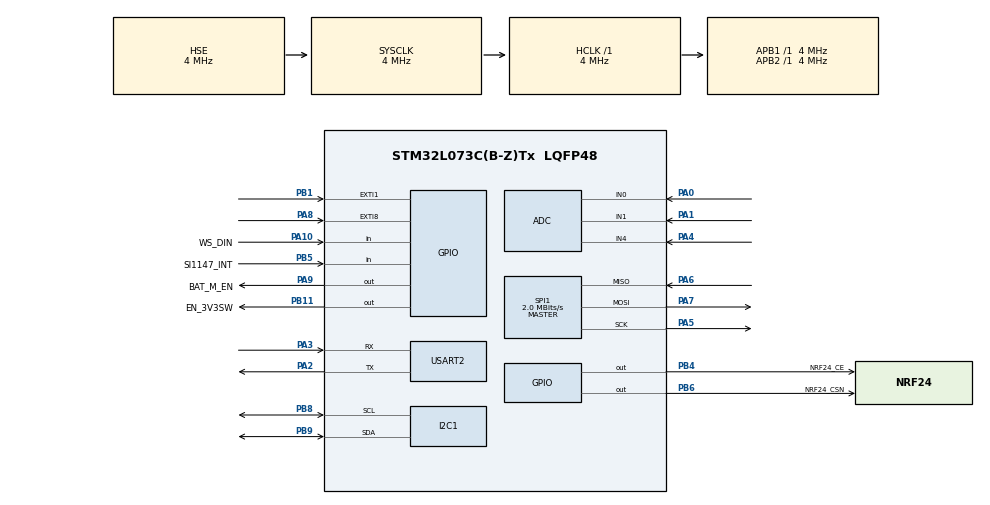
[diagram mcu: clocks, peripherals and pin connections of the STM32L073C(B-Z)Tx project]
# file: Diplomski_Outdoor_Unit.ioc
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ADC.ClockPrescaler=ADC_CLOCK_ASYNC_DIV64
ADC.OversamplingMode=ENABLE
ADC.Ratio=ADC_OVERSAMPLING_RATIO_16
ADC.RightBitShift=ADC_RIGHTBITSHIFT_4
ADC.SamplingTime=ADC_SAMPLETIME_12CYCLES_5
I2C1.Timing=0x00000E14
Mcu.Family=STM32L0
Mcu.Name=STM32L073C(B-Z)Tx
Mcu.Package=LQFP48
NVIC.EXTI0_1_IRQn=true\:1\:0\:true\:false\:true\:true\:true\:true
NVIC.EXTI4_15_IRQn=true\:1\:0\:true\:false\:true\:true\:true\:true
NVIC.RTC_IRQn=true\:0\:0\:false\:false\:true\:true\:true\:true
PA0.Mode=IN0
PA0.Signal=ADC_IN0
PA1.Mode=IN1
PA1.Signal=ADC_IN1
PA10.GPIO_Label=WS_DIN
PA10.GPIO_PuPd=GPIO_NOPULL
PA10.Signal=GPIO_Input
PA13.Mode=Serial_Wire
PA13.Signal=SYS_SWDIO
PA14.Mode=Serial_Wire
PA14.Signal=SYS_SWCLK
PA2.Mode=Asynchronous
PA2.Signal=USART2_TX
PA3.Mode=Asynchronous
PA3.Signal=USART2_RX
PA4.Mode=IN4
PA4.Signal=ADC_IN4
PA5.Mode=Full_Duplex_Master
PA5.Signal=SPI1_SCK
PA6.Mode=Full_Duplex_Master
PA6.Signal=SPI1_MISO
PA7.Mode=Full_Duplex_Master
PA7.Signal=SPI1_MOSI
PA8.GPIO_PuPd=GPIO_PULLUP
PA8.Signal=GPXTI8
PA9.GPIO_Label=BAT_M_EN
PA9.Signal=GPIO_Output
PB1.GPIO_PuPd=GPIO_PULLUP
PB1.Signal=GPXTI1
PB11.GPIO_Label=EN_3V3SW
PB11.Signal=GPIO_Output
PB4.GPIO_Label=NRF24_CE
PB4.GPIO_Speed=GPIO_SPEED_FREQ_HIGH
PB4.Signal=GPIO_Output
PB5.GPIO_Label=SI1147_INT
PB5.GPIO_PuPd=GPIO_PULLUP
PB5.Signal=GPIO_Input
PB6.GPIO_Label=NRF24_CSN
PB6.GPIO_Speed=GPIO_SPEED_FREQ_HIGH
PB6.Signal=GPIO_Output
PB8.Mode=I2C
PB8.Signal=I2C1_SCL
PB9.Mode=I2C
PB9.Signal=I2C1_SDA
PC14-OSC32_IN.Mode=LSE-External-Oscillator
PC14-OSC32_IN.Signal=RCC_OSC32_IN
PC15-OSC32_OUT.Mode=LSE-External-Oscillator
PC15-OSC32_OUT.Signal=RCC_OSC32_OUT
PH0-OSC_IN.Mode=HSE-External-Oscillator
PH0-OSC_IN.Signal=RCC_OSC_IN
PH1-OSC_OUT.Mode=HSE-External-Oscillator
PH1-OSC_OUT.Signal=RCC_OSC_OUT
ProjectManager.HeapSize=0x200
ProjectManager.StackSize=0x400
ProjectManager.TargetToolchain=TrueSTUDIO
RCC.AHBFreq_Value=4000000
RCC.APB1Freq_Value=4000000
RCC.APB1TimFreq_Value=4000000
RCC.APB2Freq_Value=4000000
RCC.APB2TimFreq_Value=4000000
RCC.HCLKFreq_Value=4000000
RCC.HSE_VALUE=4000000
RCC.HSI16_VALUE=16000000
RCC.HSI48_VALUE=48000000
RCC.HSI_VALUE=16000000
RCC.LSE_Drive_Capability=RCC_LSEDRIVE_HIGH
RCC.MSI_VALUE=2097000
RCC.RTCClockSelection=RCC_RTCCLKSOURCE_LSE
RCC.RTCClockSelectionVirtual=RCC_RTCCLKSOURCE_LSE
RCC.SYSCLKFreq_VALUE=4000000
RCC.SYSCLKSource=RCC_SYSCLKSOURCE_HSE
RCC.VCOOutputFreq_Value=48000000
RTC.Alarm-Alarm\ A=RTC_ALARM_A
RTC.Format=RTC_FORMAT_BIN
SPI1.CalculateBaudRate=2.0 MBits/s
SPI1.Direction=SPI_DIRECTION_2LINES
SPI1.Mode=SPI_MODE_MASTER
SPI1.VirtualType=VM_MASTER
TIM6.Period=65535
TIM6.Prescaler=60
USART2.VirtualMode-Asynchronous=VM_ASYNC
VP_RTC_VS_RTC_Activate.Mode=RTC_Enabled
VP_RTC_VS_RTC_Alarm_A_Intern.Mode=Alarm A
VP_RTC_VS_RTC_Calendar.Mode=RTC_Calendar
VP_TIM6_VS_ClockSourceINT.Mode=Enable_Timer
board=custom

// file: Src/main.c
/* USER CODE BEGIN Header */
/**
 ******************************************************************************
 * @file           : main.c
 * @brief          : Main program body
 ******************************************************************************
 * @attention
 *
 * <h2><center>&copy; Copyright (c) 2021 STMicroelectronics.
 * All rights reserved.</center></h2>
 *
 * This software component is licensed by ST under BSD 3-Clause license,
 * the "License"; You may not use this file except in compliance with the
 * License. You may obtain a copy of the License at:
 *                        opensource.org/licenses/BSD-3-Clause
 *
 ******************************************************************************
 */
/* USER CODE END Header */

#include "main.h"

/* USER CODE BEGIN Includes */
#include <stdlib.h>
#include <stdio.h>
#include <string.h>
#include <math.h>

#include "myStructs.h"
#include "glassLCD.h"
#include "SHT21.h"
#include "rtc.h"
#include "sleep.h"
#include "BMP180.h"
#include "Si1147.h"
#include "RF24.h"
#include "communication.h"
/* USER CODE END Includes */

/* USER CODE BEGIN PD */
#define NO_DEEP_SLEEP   0
#define DEEP_SLEEP      1
#define BMP180_ERROR    1
#define SHT21_ERROR     2
#define SI1147_ERROR    3
#define NRF24_ERROR     4

#define ALL_MEASUREMENTS        0b111111111
#define TEMP_MEASUREMENT        0b000000001
#define HUMIDITY_MEASUREMENT    0b000000010
#define PRESSURE_MEASUREMENT    0b000000100
#define UV_MEASUREMENT          0b000001000
#define LIGHT_MEASUREMENT       0b000010000
#define SOLAR_MEASUREMENT       0b000100000
#define WINDSPEED_MEASUREMENT   0b001000000
#define WINDDIR_MEASUREMENT     0b010000000
#define BATTERY_MEASUREMENT     0b100000000
/* USER CODE END PD */

ADC_HandleTypeDef hadc;

I2C_HandleTypeDef hi2c1;

RTC_HandleTypeDef hrtc;

SPI_HandleTypeDef hspi1;

TIM_HandleTypeDef htim6;

UART_HandleTypeDef huart2;

/* USER CODE BEGIN PV */
struct syncStructHandle syncStruct = {SYNC_HEADER};
struct measruementHandle weatherData;
struct measruementHandle currentWeatherData;
const char lcdTest[] = {"88888888"};
const char errStr[] = {"ERR-%03d"};
const char* windStr[] = {"N", "NNE", "NE", "ENE", "E", "ESE", "SE", "SSE", "S", "SSW", "SW", "WSW", "W", "WNW", "NW", "NNW"};
volatile uint32_t interruptButton = 0;
volatile uint8_t alarmInterruptFlag = 0;
const uint16_t measurementTable[] = { TEMP_MEASUREMENT | HUMIDITY_MEASUREMENT, PRESSURE_MEASUREMENT, UV_MEASUREMENT | LIGHT_MEASUREMENT, SOLAR_MEASUREMENT, WINDSPEED_MEASUREMENT, WINDDIR_MEASUREMENT, BATTERY_MEASUREMENT};
uint32_t sendInterval;
int16_t windDirCalibration = 0;
char lcdTemp[20];
uint8_t firstTimeSync = 0;
/* USER CODE END PV */

void SystemClock_Config(void);
static void MX_GPIO_Init(void);
static void MX_I2C1_Init(void);
static void MX_RTC_Init(void);
static void MX_SPI1_Init(void);
static void MX_USART2_UART_Init(void);
static void MX_ADC_Init(void);
static void MX_TIM6_Init(void);
/* USER CODE BEGIN PFP */
void writeError(uint8_t _e, uint8_t _forceSleep);
void readWeatherData(struct measruementHandle *_w, uint16_t _flags);
void getSolarData(double *_energyJ, double *_energy);
uint32_t getADC(uint32_t _ch);
float getWindSpeed();
int16_t getWindDir(uint32_t _pin, int16_t _offset);
float getWindSpeed();
float getBatteryVoltage();
/* USER CODE END PFP */

int main(void)
{

  /* MCU Configuration--------------------------------------------------------*/

  /* Reset of all peripherals, Initializes the Flash interface and the Systick. */
  HAL_Init();

  /* Configure the system clock */
  SystemClock_Config();

  /* Initialize all configured peripherals */
  MX_GPIO_Init();
  MX_I2C1_Init();
  MX_RTC_Init();
  MX_SPI1_Init();
  MX_USART2_UART_Init();
  MX_ADC_Init();
  MX_TIM6_Init();
  /* USER CODE BEGIN 2 */
  // Init LCD Driver
  glassLCD_Begin();

  // Test LCD (and wait for debugger to connect)
  glassLCD_WriteData((char*) lcdTest);
  glassLCD_SetDot(0b11111111);
  glassLCD_WriteArrow(0b11111111);
  glassLCD_Update();
  HAL_Delay(2000);

  // Dummy ADC readings to calibrate ADC and remove ranks
  getADC(ADC_CHANNEL_0);
  getADC(ADC_CHANNEL_1);
  getADC(ADC_CHANNEL_4);

  // Init Pressure & Temp sensor
  if (!BMP180_Init()) writeError(BMP180_ERROR, DEEP_SLEEP);

  // Init Humidity & Temp sensor
  if (!SHT21_Init()) writeError(SHT21_ERROR, DEEP_SLEEP);

  // Init Si1147 Sensor for ALS and UV
  if (!Si1147_Init()) writeError(SI1147_ERROR, DEEP_SLEEP);

  RF24_init(NRF24_CE_GPIO_Port, NRF24_CE_Pin, NRF24_CSN_GPIO_Port, NRF24_CSN_Pin);
  if (!RF24_begin()) writeError(NRF24_ERROR, DEEP_SLEEP);

  // Enable UV meas.
  Si1147_SetUV();

  // Set time on RTC
  RTC_SetTime(1609459200);

  // Setup RF communication (speed, RF Channel, RF Power, rtc)
  communication_Setup();

  // Wait for sync signal from indoor station
  uint8_t syncTimeout = 180;
  uint8_t rxBuffer[32] = {0};
  uint8_t syncSuccess = 0;
  while (!syncSuccess && syncTimeout > 0)
  {
    if (communication_Transmit(&syncStruct, sizeof(syncStruct), rxBuffer))
    {
      if (rxBuffer[0] == SYNC_HEADER)
      {
        memcpy(&syncStruct, rxBuffer, sizeof(syncStruct));
        syncSuccess = 1;
      }
    }
    char lcdTemp[9];
    sprintf(lcdTemp, "SYNC %3d", syncTimeout--);
    glassLCD_WriteData(lcdTemp);
    glassLCD_Update();
    HAL_Delay(1000);
  }
  // Flush all unsent data and power down the module
  RF24_flush_rx();
  RF24_flush_tx();
  RF24_powerDown();

  if (syncSuccess)
  {
    struct tm hTime;

    RTC_SetTime(syncStruct.myEpoch);
    RTC_SetAlarmEpoch(syncStruct.sendEpoch, RTC_ALARMMASK_DATEWEEKDAY);
    sendInterval = syncStruct.sendEpoch - syncStruct.myEpoch;
    firstTimeSync = 1;

    glassLCD_WriteData("SYNC OK");
    glassLCD_Update();
    HAL_Delay(1000);

    hTime = RTC_EpochToHuman(syncStruct.myEpoch);
    sprintf(lcdTemp, " %2d%02d%02d", hTime.tm_hour, hTime.tm_min, hTime.tm_sec);
    glassLCD_WriteData(lcdTemp);
    glassLCD_SetDot(0b00101000);
    glassLCD_Update();
    HAL_Delay(1000);
  }
  else
  {
    sendInterval = 300;
    RTC_SetAlarmEpoch(RTC_GetTime() + sendInterval, RTC_ALARMMASK_DATEWEEKDAY);
    glassLCD_WriteData("NO SYNC");
    glassLCD_Update();
    HAL_Delay(1000);
  }

  // Get North direction for wind direction calibration
  for (int i = 0; i < 5; i++)
  {
    sprintf(lcdTemp, "D CAL %d", 5 - i);
    glassLCD_WriteData(lcdTemp);
    glassLCD_Update();
    windDirCalibration += getWindDir(ADC_CHANNEL_1, 0);
    HAL_Delay(1000);
  }
  windDirCalibration /= 5;
  readWeatherData(&currentWeatherData, ALL_MEASUREMENTS);

  /* USER CODE END 2 */

  /* Infinite loop */
  /* USER CODE BEGIN WHILE */
  uint8_t k = 0;
  while (1)
  {
    uint8_t lcdDot = 0;
    uint8_t lcdArrow = 0;
    if (k == 0)
    {
      int16_t t = round(currentWeatherData.tempSHT * 10);
      int16_t h = round(currentWeatherData.humidity * ((currentWeatherData.humidity >= 100) ? 1 : 10));
      lcdDot = (h >= 1000) ? 0b00100000 : 0b00100010;
      sprintf(lcdTemp, "%3d%01d %2d%01d", t / 10, abs(t % 10), abs(h / 10), abs(h % 10));
      lcdDot = (currentWeatherData.humidity >= 100) ? 0b00100000 : 0b00100010;
      lcdArrow = 0b10000000;
    }
    if (k == 1)
    {
      uint16_t p = round(currentWeatherData.pressure * 10);
      sprintf(lcdTemp, "%4d%1d", abs(p / 10), abs(p % 10));
      lcdDot = 0b00010000;
      lcdArrow = 0b01000000;
    }
    if (k == 2)
    {
      int16_t uv = (currentWeatherData.uv * 10);
      int16_t vis = currentWeatherData.light;
      sprintf(lcdTemp, "%2d%1d %4d", abs(uv / 10), abs(uv % 10), vis);
      lcdDot = 0b01000000;
      lcdArrow = 0b00100000;
    }
    if (k == 3)
    {
      int energyJ = round(currentWeatherData.solarJ * 10);
      sprintf(lcdTemp, "%2d%1d %4d", abs(energyJ / 10), abs(energyJ % 10), (int) (currentWeatherData.solarW));
      lcdDot = 0b01000000;
      lcdArrow = 0b00010000;
    }
    if (k == 4)
    {
      int wind = round(currentWeatherData.windSpeed * 10);
      sprintf(lcdTemp, "%3d%1d", abs(wind / 10), abs(wind % 10));
      lcdDot = 0b00100000;
      lcdArrow = 0b00001000;
    }
    if (k == 5)
    {
      sprintf(lcdTemp, "%3s %3d", windStr[(int) ((currentWeatherData.windDir / 22.5) + 0.5) % 16], currentWeatherData.windDir);
      lcdArrow = 0b00000100;
    }
    if (k == 6)
    {
      uint16_t batt = round((currentWeatherData.battery) * 100);
      struct tm t = RTC_EpochToHuman(RTC_GetTime());
      sprintf(lcdTemp, "%2d%02d %1d%02d", t.tm_hour, t.tm_min, batt / 100, abs(batt % 100));
      lcdArrow = 0b00000010;
      lcdDot = 0b01000100;
    }
    glassLCD_WriteData(lcdTemp);
    glassLCD_SetDot(lcdDot);
    glassLCD_WriteArrow(lcdArrow);
    glassLCD_Update();
    Sleep_LightSleep();

    if (alarmInterruptFlag == 1)
    {
      alarmInterruptFlag = 0;
      readWeatherData(&weatherData, ALL_MEASUREMENTS);
      currentWeatherData = weatherData;
      uint8_t dataSent = 0;

      if (firstTimeSync)
      {
        RF24_powerUp();
        communication_Setup();
        uint8_t rxBuffer[32] = {0};
        uint8_t sendTimeout = 25;
        struct data1StructHandle data1 = {DATA1_HEADER};
        struct data2StructHandle data2 = {DATA2_HEADER};
        void* dataStructList[2] = {&data1, &data2};
        size_t dataStructListSize[2] = {sizeof(data1), sizeof(data2)};
        data1.uv = weatherData.uv * 100;
        data1.windDir = weatherData.windDir;
        data1.tempSHT = weatherData.tempSHT;
        data1.tempSoil = weatherData.tempSoil;
        data1.humidity = weatherData.humidity;
        data1.pressure = weatherData.pressure;
        data1.light = weatherData.light;
        data1.windSpeed = weatherData.windSpeed;
        data2.rain = weatherData.rain;
        data2.battery = weatherData.battery;
        data2.epoch = weatherData.epoch;
        data2.solarJ = weatherData.solarJ;
        data2.solarW = weatherData.solarW;
        while (dataSent < 2 && sendTimeout > 0)
        {
          if (communication_Transmit(dataStructList[dataSent], dataStructListSize[dataSent], rxBuffer))
          {
            if (rxBuffer[0] == SYNC_HEADER)
            {
              dataSent++;
              memcpy(&syncStruct, rxBuffer, sizeof(syncStruct));
            }
          }
          char temp[10];
          sprintf(temp, "SEND %d", sendTimeout--);
          glassLCD_WriteData(temp);
          glassLCD_Update();
          HAL_Delay(1000);
        }
        RF24_flush_rx();
        RF24_flush_tx();
        RF24_powerDown();
      }
      if (dataSent == 0)
      {
        RTC_SetAlarmEpoch(RTC_GetTime() + sendInterval - 25,
            RTC_ALARMMASK_DATEWEEKDAY);
      }
      else
      {
        RTC_SetTime(syncStruct.myEpoch);
        RTC_SetAlarmEpoch(syncStruct.sendEpoch, RTC_ALARMMASK_DATEWEEKDAY);
        sendInterval = syncStruct.sendEpoch - syncStruct.myEpoch;
      }
    }

    if (interruptButton & GPIO_PIN_8)
    {
      interruptButton &= ~(GPIO_PIN_8);
      k++;
      k = k % 7;
    }

    if (interruptButton & GPIO_PIN_1)
    {
      interruptButton &= ~(GPIO_PIN_1);
      readWeatherData(&currentWeatherData, measurementTable[k]);
    }
    /* USER CODE END WHILE */

  }
}

void SystemClock_Config(void)
{
  RCC_OscInitTypeDef RCC_OscInitStruct = {0};
  RCC_ClkInitTypeDef RCC_ClkInitStruct = {0};
  RCC_PeriphCLKInitTypeDef PeriphClkInit = {0};

  /** Configure the main internal regulator output voltage
  */
  __HAL_PWR_VOLTAGESCALING_CONFIG(PWR_REGULATOR_VOLTAGE_SCALE1);
  /** Configure LSE Drive Capability
  */
  HAL_PWR_EnableBkUpAccess();
  __HAL_RCC_LSEDRIVE_CONFIG(RCC_LSEDRIVE_HIGH);
  /** Initializes the CPU, AHB and APB busses clocks
  */
  RCC_OscInitStruct.OscillatorType = RCC_OSCILLATORTYPE_HSI|RCC_OSCILLATORTYPE_HSE
                              |RCC_OSCILLATORTYPE_LSE;
  RCC_OscInitStruct.HSEState = RCC_HSE_ON;
  RCC_OscInitStruct.LSEState = RCC_LSE_ON;
  RCC_OscInitStruct.HSIState = RCC_HSI_ON;
  RCC_OscInitStruct.HSICalibrationValue = RCC_HSICALIBRATION_DEFAULT;
  RCC_OscInitStruct.PLL.PLLState = RCC_PLL_NONE;
  if (HAL_RCC_OscConfig(&RCC_OscInitStruct) != HAL_OK)
  {
    Error_Handler();
  }
  /** Initializes the CPU, AHB and APB busses clocks
  */
  RCC_ClkInitStruct.ClockType = RCC_CLOCKTYPE_HCLK|RCC_CLOCKTYPE_SYSCLK
                              |RCC_CLOCKTYPE_PCLK1|RCC_CLOCKTYPE_PCLK2;
  RCC_ClkInitStruct.SYSCLKSource = RCC_SYSCLKSOURCE_HSE;
  RCC_ClkInitStruct.AHBCLKDivider = RCC_SYSCLK_DIV1;
  RCC_ClkInitStruct.APB1CLKDivider = RCC_HCLK_DIV1;
  RCC_ClkInitStruct.APB2CLKDivider = RCC_HCLK_DIV1;

  if (HAL_RCC_ClockConfig(&RCC_ClkInitStruct, FLASH_LATENCY_0) != HAL_OK)
  {
    Error_Handler();
  }
  PeriphClkInit.PeriphClockSelection = RCC_PERIPHCLK_USART2|RCC_PERIPHCLK_I2C1
                              |RCC_PERIPHCLK_RTC;
  PeriphClkInit.Usart2ClockSelection = RCC_USART2CLKSOURCE_PCLK1;
  PeriphClkInit.I2c1ClockSelection = RCC_I2C1CLKSOURCE_PCLK1;
  PeriphClkInit.RTCClockSelection = RCC_RTCCLKSOURCE_LSE;
  if (HAL_RCCEx_PeriphCLKConfig(&PeriphClkInit) != HAL_OK)
  {
    Error_Handler();
  }
}

static void MX_ADC_Init(void)
{

  ADC_ChannelConfTypeDef sConfig = {0};

  /** Configure the global features of the ADC (Clock, Resolution, Data Alignment and number of conversion)
  */
  hadc.Instance = ADC1;
  hadc.Init.OversamplingMode = ENABLE;
  hadc.Init.Oversample.Ratio = ADC_OVERSAMPLING_RATIO_16;
  hadc.Init.Oversample.RightBitShift = ADC_RIGHTBITSHIFT_4;
  hadc.Init.Oversample.TriggeredMode = ADC_TRIGGEREDMODE_SINGLE_TRIGGER;
  hadc.Init.ClockPrescaler = ADC_CLOCK_ASYNC_DIV64;
  hadc.Init.Resolution = ADC_RESOLUTION_12B;
  hadc.Init.SamplingTime = ADC_SAMPLETIME_12CYCLES_5;
  hadc.Init.ScanConvMode = ADC_SCAN_DIRECTION_FORWARD;
  hadc.Init.DataAlign = ADC_DATAALIGN_RIGHT;
  hadc.Init.ContinuousConvMode = DISABLE;
  hadc.Init.DiscontinuousConvMode = DISABLE;
  hadc.Init.ExternalTrigConvEdge = ADC_EXTERNALTRIGCONVEDGE_NONE;
  hadc.Init.ExternalTrigConv = ADC_SOFTWARE_START;
  hadc.Init.DMAContinuousRequests = DISABLE;
  hadc.Init.EOCSelection = ADC_EOC_SINGLE_CONV;
  hadc.Init.Overrun = ADC_OVR_DATA_PRESERVED;
  hadc.Init.LowPowerAutoWait = DISABLE;
  hadc.Init.LowPowerFrequencyMode = DISABLE;
  hadc.Init.LowPowerAutoPowerOff = DISABLE;
  if (HAL_ADC_Init(&hadc) != HAL_OK)
  {
    Error_Handler();
  }
  /** Configure for the selected ADC regular channel to be converted.
  */
  sConfig.Channel = ADC_CHANNEL_0;
  sConfig.Rank = ADC_RANK_CHANNEL_NUMBER;
  if (HAL_ADC_ConfigChannel(&hadc, &sConfig) != HAL_OK)
  {
    Error_Handler();
  }
  /** Configure for the selected ADC regular channel to be converted.
  */
  sConfig.Channel = ADC_CHANNEL_1;
  if (HAL_ADC_ConfigChannel(&hadc, &sConfig) != HAL_OK)
  {
    Error_Handler();
  }
  /** Configure for the selected ADC regular channel to be converted.
  */
  sConfig.Channel = ADC_CHANNEL_4;
  if (HAL_ADC_ConfigChannel(&hadc, &sConfig) != HAL_OK)
  {
    Error_Handler();
  }

}

static void MX_I2C1_Init(void)
{

  hi2c1.Instance = I2C1;
  hi2c1.Init.Timing = 0x00000E14;
  hi2c1.Init.OwnAddress1 = 0;
  hi2c1.Init.AddressingMode = I2C_ADDRESSINGMODE_7BIT;
  hi2c1.Init.DualAddressMode = I2C_DUALADDRESS_DISABLE;
  hi2c1.Init.OwnAddress2 = 0;
  hi2c1.Init.OwnAddress2Masks = I2C_OA2_NOMASK;
  hi2c1.Init.GeneralCallMode = I2C_GENERALCALL_DISABLE;
  hi2c1.Init.NoStretchMode = I2C_NOSTRETCH_DISABLE;
  if (HAL_I2C_Init(&hi2c1) != HAL_OK)
  {
    Error_Handler();
  }
  /** Configure Analogue filter
  */
  if (HAL_I2CEx_ConfigAnalogFilter(&hi2c1, I2C_ANALOGFILTER_ENABLE) != HAL_OK)
  {
    Error_Handler();
  }
  /** Configure Digital filter
  */
  if (HAL_I2CEx_ConfigDigitalFilter(&hi2c1, 0) != HAL_OK)
  {
    Error_Handler();
  }

}

static void MX_RTC_Init(void)
{

  RTC_TimeTypeDef sTime = {0};
  RTC_DateTypeDef sDate = {0};
  RTC_AlarmTypeDef sAlarm = {0};

  /** Initialize RTC Only
  */
  hrtc.Instance = RTC;
  hrtc.Init.HourFormat = RTC_HOURFORMAT_24;
  hrtc.Init.AsynchPrediv = 127;
  hrtc.Init.SynchPrediv = 255;
  hrtc.Init.OutPut = RTC_OUTPUT_DISABLE;
  hrtc.Init.OutPutRemap = RTC_OUTPUT_REMAP_NONE;
  hrtc.Init.OutPutPolarity = RTC_OUTPUT_POLARITY_HIGH;
  hrtc.Init.OutPutType = RTC_OUTPUT_TYPE_OPENDRAIN;
  if (HAL_RTC_Init(&hrtc) != HAL_OK)
  {
    Error_Handler();
  }

  /** Initialize RTC and set the Time and Date
  */
  sTime.Hours = 0;
  sTime.Minutes = 0;
  sTime.Seconds = 0;
  sTime.DayLightSaving = RTC_DAYLIGHTSAVING_NONE;
  sTime.StoreOperation = RTC_STOREOPERATION_RESET;
  if (HAL_RTC_SetTime(&hrtc, &sTime, RTC_FORMAT_BIN) != HAL_OK)
  {
    Error_Handler();
  }
  sDate.WeekDay = RTC_WEEKDAY_MONDAY;
  sDate.Month = RTC_MONTH_JANUARY;
  sDate.Date = 1;
  sDate.Year = 0;

  if (HAL_RTC_SetDate(&hrtc, &sDate, RTC_FORMAT_BIN) != HAL_OK)
  {
    Error_Handler();
  }
  /** Enable the Alarm A
  */
  sAlarm.AlarmTime.Hours = 0;
  sAlarm.AlarmTime.Minutes = 0;
  sAlarm.AlarmTime.Seconds = 0;
  sAlarm.AlarmTime.SubSeconds = 0;
  sAlarm.AlarmTime.DayLightSaving = RTC_DAYLIGHTSAVING_NONE;
  sAlarm.AlarmTime.StoreOperation = RTC_STOREOPERATION_RESET;
  sAlarm.AlarmMask = RTC_ALARMMASK_NONE;
  sAlarm.AlarmSubSecondMask = RTC_ALARMSUBSECONDMASK_ALL;
  sAlarm.AlarmDateWeekDaySel = RTC_ALARMDATEWEEKDAYSEL_DATE;
  sAlarm.AlarmDateWeekDay = 1;
  sAlarm.Alarm = RTC_ALARM_A;
  if (HAL_RTC_SetAlarm_IT(&hrtc, &sAlarm, RTC_FORMAT_BIN) != HAL_OK)
  {
    Error_Handler();
  }

}

static void MX_SPI1_Init(void)
{

  /* SPI1 parameter configuration*/
  hspi1.Instance = SPI1;
  hspi1.Init.Mode = SPI_MODE_MASTER;
  hspi1.Init.Direction = SPI_DIRECTION_2LINES;
  hspi1.Init.DataSize = SPI_DATASIZE_8BIT;
  hspi1.Init.CLKPolarity = SPI_POLARITY_LOW;
  hspi1.Init.CLKPhase = SPI_PHASE_1EDGE;
  hspi1.Init.NSS = SPI_NSS_SOFT;
  hspi1.Init.BaudRatePrescaler = SPI_BAUDRATEPRESCALER_2;
  hspi1.Init.FirstBit = SPI_FIRSTBIT_MSB;
  hspi1.Init.TIMode = SPI_TIMODE_DISABLE;
  hspi1.Init.CRCCalculation = SPI_CRCCALCULATION_DISABLE;
  hspi1.Init.CRCPolynomial = 7;
  if (HAL_SPI_Init(&hspi1) != HAL_OK)
  {
    Error_Handler();
  }

}

static void MX_TIM6_Init(void)
{

  TIM_MasterConfigTypeDef sMasterConfig = {0};

  htim6.Instance = TIM6;
  htim6.Init.Prescaler = 60;
  htim6.Init.CounterMode = TIM_COUNTERMODE_UP;
  htim6.Init.Period = 65535;
  htim6.Init.AutoReloadPreload = TIM_AUTORELOAD_PRELOAD_DISABLE;
  if (HAL_TIM_Base_Init(&htim6) != HAL_OK)
  {
    Error_Handler();
  }
  sMasterConfig.MasterOutputTrigger = TIM_TRGO_RESET;
  sMasterConfig.MasterSlaveMode = TIM_MASTERSLAVEMODE_DISABLE;
  if (HAL_TIMEx_MasterConfigSynchronization(&htim6, &sMasterConfig) != HAL_OK)
  {
    Error_Handler();
  }

}

static void MX_USART2_UART_Init(void)
{

  huart2.Instance = USART2;
  huart2.Init.BaudRate = 115200;
  huart2.Init.WordLength = UART_WORDLENGTH_8B;
  huart2.Init.StopBits = UART_STOPBITS_1;
  huart2.Init.Parity = UART_PARITY_NONE;
  huart2.Init.Mode = UART_MODE_TX_RX;
  huart2.Init.HwFlowCtl = UART_HWCONTROL_NONE;
  huart2.Init.OverSampling = UART_OVERSAMPLING_16;
  huart2.Init.OneBitSampling = UART_ONE_BIT_SAMPLE_DISABLE;
  huart2.AdvancedInit.AdvFeatureInit = UART_ADVFEATURE_NO_INIT;
  if (HAL_UART_Init(&huart2) != HAL_OK)
  {
    Error_Handler();
  }

}

static void MX_GPIO_Init(void)
{
  GPIO_InitTypeDef GPIO_InitStruct = {0};

  /* GPIO Ports Clock Enable */
  __HAL_RCC_GPIOC_CLK_ENABLE();
  __HAL_RCC_GPIOH_CLK_ENABLE();
  __HAL_RCC_GPIOA_CLK_ENABLE();
  __HAL_RCC_GPIOB_CLK_ENABLE();

  /*Configure GPIO pin Output Level */
  HAL_GPIO_WritePin(GPIOB, EN_3V3SW_Pin|NRF24_CE_Pin|NRF24_CSN_Pin, GPIO_PIN_RESET);

  /*Configure GPIO pin Output Level */
  HAL_GPIO_WritePin(BAT_M_EN_GPIO_Port, BAT_M_EN_Pin, GPIO_PIN_RESET);

  /*Configure GPIO pin : PB1 */
  GPIO_InitStruct.Pin = GPIO_PIN_1;
  GPIO_InitStruct.Mode = GPIO_MODE_IT_RISING;
  GPIO_InitStruct.Pull = GPIO_PULLUP;
  HAL_GPIO_Init(GPIOB, &GPIO_InitStruct);

  /*Configure GPIO pin : EN_3V3SW_Pin */
  GPIO_InitStruct.Pin = EN_3V3SW_Pin;
  GPIO_InitStruct.Mode = GPIO_MODE_OUTPUT_PP;
  GPIO_InitStruct.Pull = GPIO_NOPULL;
  GPIO_InitStruct.Speed = GPIO_SPEED_FREQ_LOW;
  HAL_GPIO_Init(EN_3V3SW_GPIO_Port, &GPIO_InitStruct);

  /*Configure GPIO pin : PA8 */
  GPIO_InitStruct.Pin = GPIO_PIN_8;
  GPIO_InitStruct.Mode = GPIO_MODE_IT_RISING;
  GPIO_InitStruct.Pull = GPIO_PULLUP;
  HAL_GPIO_Init(GPIOA, &GPIO_InitStruct);

  /*Configure GPIO pin : BAT_M_EN_Pin */
  GPIO_InitStruct.Pin = BAT_M_EN_Pin;
  GPIO_InitStruct.Mode = GPIO_MODE_OUTPUT_PP;
  GPIO_InitStruct.Pull = GPIO_NOPULL;
  GPIO_InitStruct.Speed = GPIO_SPEED_FREQ_LOW;
  HAL_GPIO_Init(BAT_M_EN_GPIO_Port, &GPIO_InitStruct);

  /*Configure GPIO pin : WS_DIN_Pin */
  GPIO_InitStruct.Pin = WS_DIN_Pin;
  GPIO_InitStruct.Mode = GPIO_MODE_INPUT;
  GPIO_InitStruct.Pull = GPIO_NOPULL;
  HAL_GPIO_Init(WS_DIN_GPIO_Port, &GPIO_InitStruct);

  /*Configure GPIO pins : NRF24_CE_Pin NRF24_CSN_Pin */
  GPIO_InitStruct.Pin = NRF24_CE_Pin|NRF24_CSN_Pin;
  GPIO_InitStruct.Mode = GPIO_MODE_OUTPUT_PP;
  GPIO_InitStruct.Pull = GPIO_NOPULL;
  GPIO_InitStruct.Speed = GPIO_SPEED_FREQ_HIGH;
  HAL_GPIO_Init(GPIOB, &GPIO_InitStruct);

  /*Configure GPIO pin : SI1147_INT_Pin */
  GPIO_InitStruct.Pin = SI1147_INT_Pin;
  GPIO_InitStruct.Mode = GPIO_MODE_INPUT;
  GPIO_InitStruct.Pull = GPIO_PULLUP;
  HAL_GPIO_Init(SI1147_INT_GPIO_Port, &GPIO_InitStruct);

  /* EXTI interrupt init*/
  HAL_NVIC_SetPriority(EXTI0_1_IRQn, 1, 0);
  HAL_NVIC_EnableIRQ(EXTI0_1_IRQn);

  HAL_NVIC_SetPriority(EXTI4_15_IRQn, 1, 0);
  HAL_NVIC_EnableIRQ(EXTI4_15_IRQn);

}

/* USER CODE BEGIN 4 */
void writeError(uint8_t _e, uint8_t _forceSleep)
{
  char _c[9];
  sprintf(_c, errStr, _e);
  glassLCD_WriteData(_c);
  glassLCD_Update();
  HAL_Delay(50);
  if (_forceSleep) HAL_PWR_EnterSTANDBYMode();
}

void readWeatherData(struct measruementHandle *_w, uint16_t _flags)
{
  if (_flags & TEMP_MEASUREMENT) _w->tempSHT = SHT21_ReadTemperature();
  if (_flags & HUMIDITY_MEASUREMENT)
  {
	  _w->humidity = SHT21_ReadHumidity();
	  if (_w->humidity > 100) _w->humidity = 100;
  }
  if (_flags & PRESSURE_MEASUREMENT)
  {
    _w->pressure = 0;
    for (int i = 0; i < 4; i++)
    {
      _w->pressure += BMP180_ReadPressure();
    }
    _w->pressure /= 4;
  }
  if (_flags & SOLAR_MEASUREMENT) getSolarData(&(_w->solarJ), &(_w->solarW));
  if (_flags & UV_MEASUREMENT)
  {
    Si1147_ForceUV();
    _w->uv = Si1147_GetUV();
  }
  if (_flags & UV_MEASUREMENT)
  {
    // Force the measurement of UV but it also measures visible light
    Si1147_ForceUV();
    _w->light = Si1147_GetVis() * 0.282 * 16.5;
  }
  if (_flags & WINDSPEED_MEASUREMENT) _w->windSpeed = getWindSpeed();
  if (_flags & WINDDIR_MEASUREMENT) _w->windDir = getWindDir(ADC_CHANNEL_1, windDirCalibration);
  if (_flags & BATTERY_MEASUREMENT) _w->battery = getBatteryVoltage();
  _w->epoch = (uint32_t)RTC_GetTime();
}

// Read solar data in Joules/cm2 and W/m2
void getSolarData(double *_energyJ, double *_energy)
{
  // Turn on supply to the OpAmp
  HAL_GPIO_WritePin(EN_3V3SW_GPIO_Port, EN_3V3SW_Pin, GPIO_PIN_SET);
  HAL_Delay(10);

  uint32_t rawAdc;
  double voltage;
  double current;

  // Get the measurement for  the solar cell
  rawAdc = getADC(ADC_CHANNEL_0);

  // Turn off supply to the OpAmp
  HAL_GPIO_WritePin(EN_3V3SW_GPIO_Port, EN_3V3SW_Pin, GPIO_PIN_RESET);

  // Calculations for voltage, current and energy
  voltage = (rawAdc / 4095.0 * 3.3) - 0.004;

  if (voltage < 0) voltage = 0;

  current = voltage / (220 / 4.7);
  *_energy = current / 42.5E-3 * 1000;
  *_energyJ = (1 / 1E4) * (*_energy) * 600;
}

uint32_t getADC(uint32_t _ch)
{
  uint32_t _result;
  ADC_ChannelConfTypeDef ch = {0};

  // Calibrate ADC
  HAL_ADCEx_Calibration_Start(&hadc, ADC_SINGLE_ENDED);

  // Select the channel (in order to work properly, on all channels ranks have to be set on RANK_NONE!)
  ch.Channel = _ch;
  ch.Rank = ADC_RANK_CHANNEL_NUMBER;
  HAL_ADC_ConfigChannel(&hadc, &ch);

  // Start ADC conversion of selected channel
  HAL_ADC_Start(&hadc);

  // Wait for conversion to be complete
  HAL_ADC_PollForConversion(&hadc, 1000);

  // Get the RAW ADC value
  _result = HAL_ADC_GetValue(&hadc);

  // Stop the ADC
  HAL_ADC_Stop(&hadc);

  // Remove channel from rank
  ch.Rank = ADC_RANK_NONE;
  HAL_ADC_ConfigChannel(&hadc, &ch);

  // Return the result
  return _result;
}

float getWindSpeed()
{
  // Coefficients for linear regression ((https://keisan.casio.com/exec/system/14059929550941))
  // Calculation for frequency to wind speed  y = A + (B * x) (x = Frequency, y = wind speed in m/s)
  double Acoef = 0;
  double Bcoef = 0.31413320680643629774139228;

  // Turn on supply to the wind speed sensor
  HAL_GPIO_WritePin(EN_3V3SW_GPIO_Port, EN_3V3SW_Pin, GPIO_PIN_SET);
  HAL_Delay(5);

  // Activate the timer
  HAL_TIM_Base_Start(&htim6);

  // Get inital state of the pin
  uint8_t _initState = HAL_GPIO_ReadPin(WS_DIN_GPIO_Port, WS_DIN_Pin);

  // Get the current sysTick time (needed for timeout)
  uint32_t _timeout = HAL_GetTick();
  uint32_t _period = 0;

  // Wait for the edge of the signal (doesn't matter if is rising or falling)
  while ((HAL_GPIO_ReadPin(WS_DIN_GPIO_Port, WS_DIN_Pin) == _initState) && ((HAL_GetTick() - _timeout) < 1000));
  if ((HAL_GetTick() - _timeout) >= 1000) return 0;

  // Reset the timer counter and measure the time until next edge of the signal
  htim6.Instance->CNT = 0;
  while ((HAL_GPIO_ReadPin(WS_DIN_GPIO_Port, WS_DIN_Pin) != _initState) && (htim6.Instance->CNT < 65530));
  _period += (htim6.Instance->CNT);

  // Reset the timer counter and measure the time until next edge of the signal
  htim6.Instance->CNT = 0;
  while ((HAL_GPIO_ReadPin(WS_DIN_GPIO_Port, WS_DIN_Pin) == _initState) && (htim6.Instance->CNT < 65530));
  _period += (htim6.Instance->CNT);

  // Stop the timer
  HAL_TIM_Base_Stop(&htim6);

  // Turn on supply to the wind speed sensor
  HAL_GPIO_WritePin(EN_3V3SW_GPIO_Port, EN_3V3SW_Pin, GPIO_PIN_RESET);

  // Calculate the frequency in hertz and return the result. 0.988533017 is  calibration value (tested with function generator)
  double freqHz = ((double)(1 / (_period * 1E-6 * 15))) * 0.988533017;

  // Calculate and return wind speed in m/s
  return (Acoef + (freqHz * Bcoef));
}

int16_t getWindDir(uint32_t _pin, int16_t _offset)
{
  // Turn on the supply to the wind direction sensor (AS5600)
  HAL_GPIO_WritePin(EN_3V3SW_GPIO_Port, EN_3V3SW_Pin, GPIO_PIN_SET);
  HAL_Delay(10);

  int16_t _voltage = getADC(_pin);
  int16_t _angle;
  _voltage = 1 / 4095.0 * _voltage * 3300;
  _angle = (int16_t) ((360.0 / 3300.0) * _voltage);
  _angle = _angle - _offset;
  if (_angle < 0)
    _angle = 360 + _angle;

  // Turn off the supply to the wind direction sensor (AS5600)
  HAL_GPIO_WritePin(EN_3V3SW_GPIO_Port, EN_3V3SW_Pin, GPIO_PIN_RESET);

  return _angle;
}

float getBatteryVoltage()
{
  float _result;
  HAL_GPIO_WritePin(BAT_M_EN_GPIO_Port, BAT_M_EN_Pin, GPIO_PIN_SET);
  HAL_Delay(10);
  _result = getADC(ADC_CHANNEL_4) * 1 / 4095.0 * 3.3 * 2;
  HAL_GPIO_WritePin(BAT_M_EN_GPIO_Port, BAT_M_EN_Pin, GPIO_PIN_RESET);
  return _result;
}

void HAL_GPIO_EXTI_Callback(uint16_t GPIO_Pin)
{
  interruptButton |= GPIO_Pin;
}

void HAL_RTC_AlarmAEventCallback(RTC_HandleTypeDef *hrtc)
{
  alarmInterruptFlag = 1;
}
/* USER CODE END 4 */

void Error_Handler(void)
{
}

/************************ (C) COPYRIGHT STMicroelectronics *****END OF FILE****/
